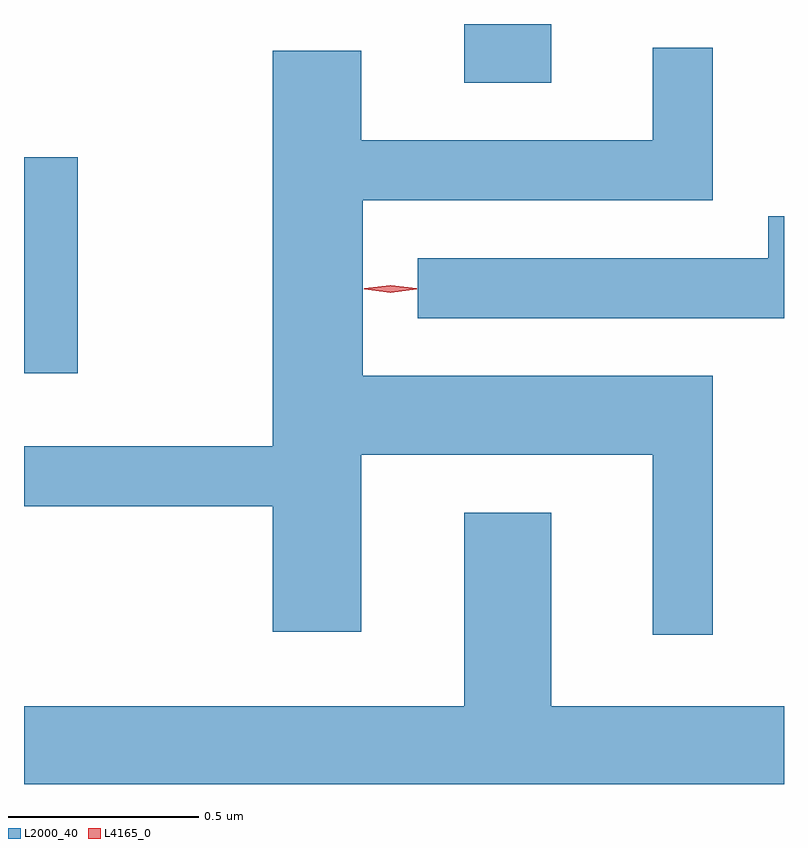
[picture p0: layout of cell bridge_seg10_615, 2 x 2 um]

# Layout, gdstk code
import gdstk
lib = gdstk.Library(unit=1e-6, precision=1e-09)
def R(c, l, rs):  # rectangles x0, y0, x1, y1
    for r in rs: c.add(gdstk.rectangle(r[:2], r[2:], *l))
def P(c, l, *ps):  # polygons
    for p in ps: c.add(gdstk.Polygon(p, *l))
L2000_40 = (2000, 40)
L4165_0 = (4165, 0)

bridge_seg10_615 = lib.new_cell('bridge_seg10_615')
R(bridge_seg10_615, L2000_40, [(660.122,2203.861,660.264,2204.429), (661.281,2204.626,661.509,2204.78)])
P(bridge_seg10_615, L2000_40, [(661.934,2203.854),(661.014,2203.854),(661.014,2204.316),(661.934,2204.316),(661.934,2204.718),(661.776,2204.718),(661.776,2204.474),(661.009,2204.474),(661.009,2204.709),(660.776,2204.709),(660.776,2203.669),(660.122,2203.669),(660.122,2203.511),(660.776,2203.511),(660.776,2203.181),(661.009,2203.181),(661.009,2203.646),(661.776,2203.646),(661.776,2203.173),(661.934,2203.173)],
  [(662.122,2204.274),(662.081,2204.274),(662.081,2204.164),(661.158,2204.164),(661.158,2204.006),(662.122,2204.006)],
  [(662.122,2202.984),(661.509,2202.984),(661.509,2203.494),(661.281,2203.494),(661.281,2202.984),(660.122,2202.984),(660.122,2202.78),(662.122,2202.78)])
P(bridge_seg10_615, L4165_0, [(661.086,2204.073),(661.02,2204.082),(661.02,2204.083),(661.02,2204.084),(661.086,2204.093),(661.152,2204.084),(661.153,2204.083),(661.152,2204.082)],
  [(661.087,2204.073),(661.018,2204.082),(661.018,2204.083),(661.018,2204.084),(661.087,2204.093),(661.156,2204.084),(661.156,2204.083),(661.156,2204.082)])

lib.write_gds('bridge_seg10_615.gds')
